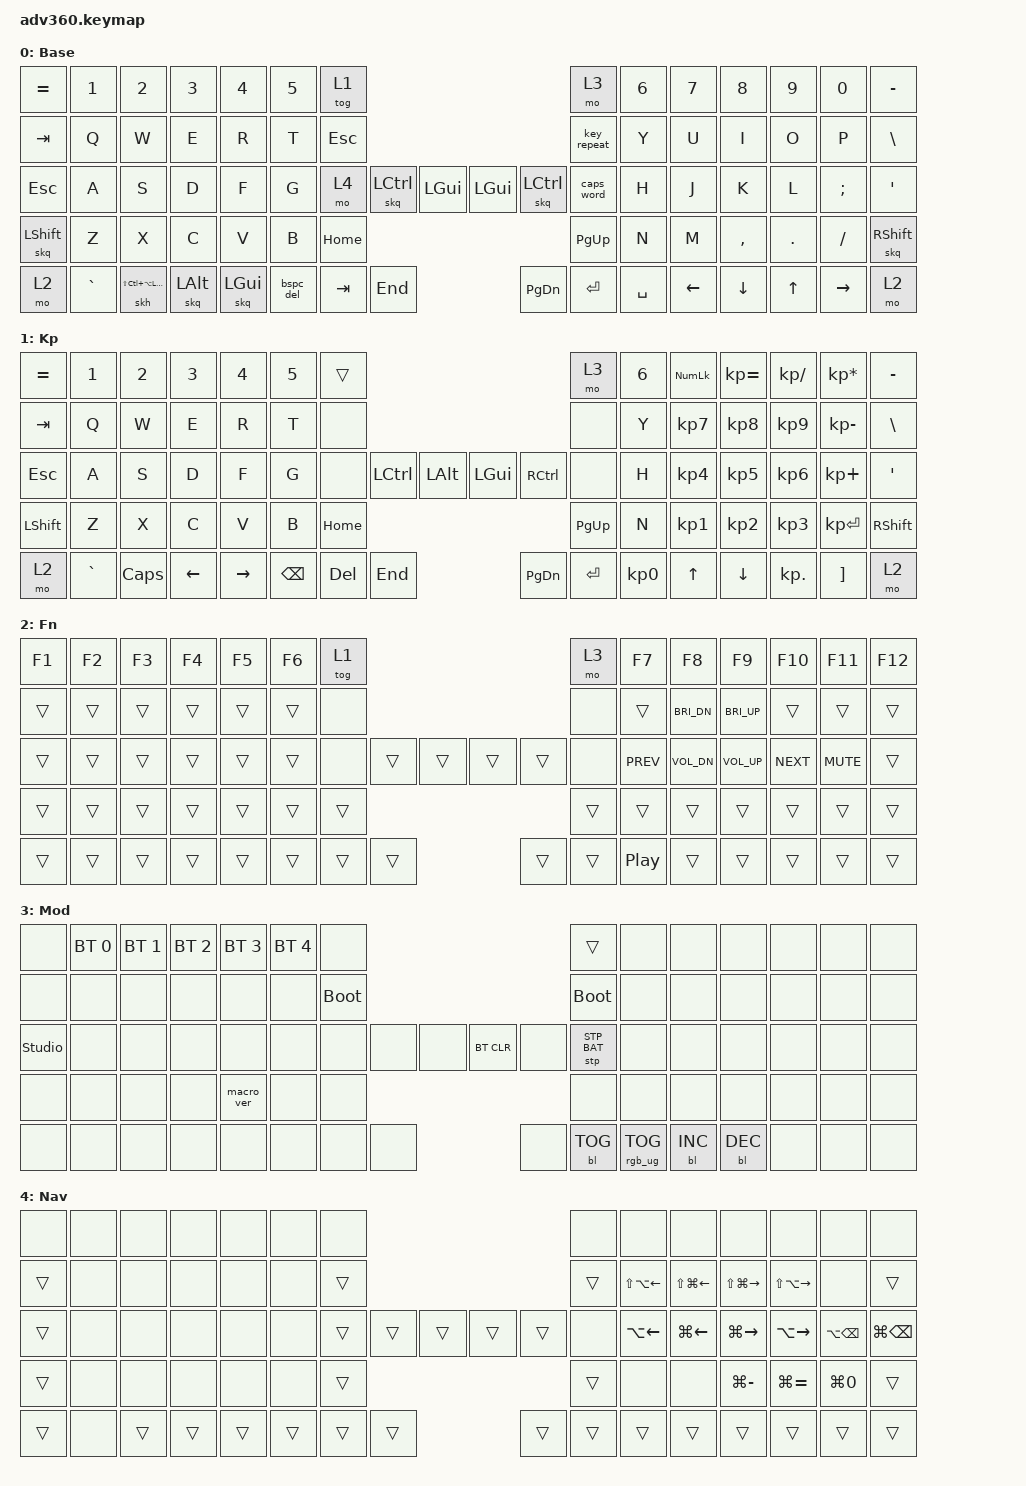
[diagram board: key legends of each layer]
#include <behaviors.dtsi>
#include <dt-bindings/zmk/keys.h>
#include <dt-bindings/zmk/bt.h>
#include <dt-bindings/zmk/rgb.h>
#include <dt-bindings/zmk/stp.h>
#include <dt-bindings/zmk/backlight.h>
#include <dt-bindings/zmk/pointing.h>

/ {
    behaviors {
      #include "macros.dtsi"
      #include "version.dtsi"

      hm: homerow_mods {
          compatible = "zmk,behavior-hold-tap";
          label = "HOMEROW_MODS";
          #binding-cells = <2>;
          tapping-term-ms = <200>;
          quick_tap_ms = <175>;
          flavor = "tap-preferred";
          bindings = <&kp>, <&kp>;
      };

      // Every sticky modifier on this board. Stock &sk drops the modifier when
      // the NEXT KEY IS RELEASED, so a fast roll after tapping shift capitalises
      // more than one letter. quick-release drops it on the next key PRESS
      // instead, which is the whole reason this repo exists.
      //
      // quick-release only affects the tapped-and-released path: it is gated on
      // timer_started, which is set in on_sticky_key_binding_released. Hold one
      // of these and it behaves like a plain held modifier, so holding Cmd to
      // walk the app switcher still works.
      //
      // ignore-modifiers is what lets two of these chain: tap ctrl, tap shift,
      // press T and you get Ctrl+Shift+T rather than the ctrl being eaten.
      skq: sticky_quick {
          compatible = "zmk,behavior-sticky-key";
          #binding-cells = <1>;
          bindings = <&kp>;
          release-after-ms = <1000>;
          quick-release;
          ignore-modifiers;
          display-name = "Sticky";
      };

      // Hyper is a window-manager chord, not a typing modifier, so it gets a
      // longer fuse — you are usually thinking about where the window goes.
      skh: sticky_hyper {
          compatible = "zmk,behavior-sticky-key";
          #binding-cells = <1>;
          bindings = <&kp>;
          release-after-ms = <2000>;
          quick-release;
          ignore-modifiers;
          display-name = "Sticky Hyper";
      };

      // Delete had no key at all on the base layer: it was lost when Tab took
      // the thumb key it used to sit on, and it only survives on the keypad
      // layer, which is never used. Shift+Backspace is the conventional way to
      // recover it and it costs no key.
      //
      // This pairs with sticky shift rather than fighting it — tap shift, tap
      // backspace, never holding two keys at once.
      bspc_del: backspace_delete {
          compatible = "zmk,behavior-mod-morph";
          #binding-cells = <0>;
          bindings = <&kp BSPC>, <&kp DEL>;
          mods = <(MOD_LSFT|MOD_RSFT)>;
          display-name = "Bksp / Del";
      };
    };

  // Left hand opens, right hand closes, and the row picks the pair. All six
  // brackets reached the same way, without shift, without a layer:
  //
  //     R+T  (      Y+U  )
  //     F+G  [      H+J  ]
  //     V+B  {      N+M  }
  //
  // Each pair is two adjacent keys on one row under one flattened index finger,
  // and no pair crosses the split — cross-half combos are the ones that suffer
  // latency.
  //
  // require-prior-idle-ms is what keeps this safe to type on. R+T is the only
  // pair that is a common English bigram (start, part, short); prior-idle means
  // a combo cannot fire if another key went down in the last 125 ms, so a
  // mid-word roll can never reach it. If ( still misfires, lower timeout-ms
  // toward 30 before touching prior-idle.
  combos {
    compatible = "zmk,combos";

    combo_lpar {
      key-positions = <18 19>;   // R + T
      bindings = <&kp LPAR>;
      timeout-ms = <40>;
      require-prior-idle-ms = <125>;
      layers = <0>;
    };
    combo_rpar {
      key-positions = <22 23>;   // Y + U
      bindings = <&kp RPAR>;
      timeout-ms = <40>;
      require-prior-idle-ms = <125>;
      layers = <0>;
    };
    combo_lbkt {
      key-positions = <32 33>;   // F + G
      bindings = <&kp LBKT>;
      timeout-ms = <40>;
      require-prior-idle-ms = <125>;
      layers = <0>;
    };
    combo_rbkt {
      key-positions = <40 41>;   // H + J
      bindings = <&kp RBKT>;
      timeout-ms = <40>;
      require-prior-idle-ms = <125>;
      layers = <0>;
    };
    combo_lbrc {
      key-positions = <50 51>;   // V + B
      bindings = <&kp LBRC>;
      timeout-ms = <40>;
      require-prior-idle-ms = <125>;
      layers = <0>;
    };
    combo_rbrc {
      key-positions = <54 55>;   // N + M
      bindings = <&kp RBRC>;
      timeout-ms = <40>;
      require-prior-idle-ms = <125>;
      layers = <0>;
    };
  };

  keymap {
    compatible = "zmk,keymap";

    // The two inner columns either side of T and Y used to hold [ and ], which
    // now come from combos. Leaving them bound would have given the brackets a
    // second route, and a second route is exactly what stopped the old symbol
    // layer from becoming muscle memory — so they were blanked, and now carry
    // the two things that had no home at all: the nav layer and key repeat.
    default_layer {
      display-name = "Base";
      bindings = <
        &kp EQUAL &kp N1    &kp N2                &kp N3    &kp N4    &kp N5 &tog 1                                                            &mo 3      &kp N6 &kp N7 &kp N8    &kp N9  &kp N0   &kp MINUS
        &kp TAB   &kp Q     &kp W                 &kp E     &kp R     &kp T  &kp ESC                                                           &key_repeat &kp Y &kp U  &kp I     &kp O   &kp P    &kp BSLH
        &kp ESC   &kp A     &kp S                 &kp D     &kp F     &kp G  &mo 4            &skq LCTRL &kp LGUI &kp LGUI  &skq LCTRL         &caps_word &kp H  &kp J  &kp K     &kp L   &kp SEMI &kp SQT
        &skq LSHFT &kp Z    &kp X                 &kp C     &kp V     &kp B                             &kp HOME &kp PG_UP                                &kp N  &kp M  &kp COMMA &kp DOT &kp FSLH &skq RSHFT
        &mo 2     &kp GRAVE &skh LS(LC(LA(LGUI))) &skq LALT &skq LGUI                &bspc_del &kp TAB  &kp END  &kp PG_DN &kp ENTER &kp SPACE            &kp LEFT &kp DOWN &kp UP  &kp RIGHT        &mo 2
      >;
    };
    keypad {
      display-name = "Kp";
      bindings = <
        &kp EQUAL &kp N1    &kp N2   &kp N3   &kp N4     &kp N5 &trans                                                           &mo 3 &kp N6 &kp KP_NUM &kp KP_EQUAL &kp KP_DIVIDE &kp KP_MULTIPLY &kp MINUS
        &kp TAB   &kp Q     &kp W    &kp E    &kp R      &kp T  &none                                                            &none &kp Y  &kp KP_N7  &kp KP_N8    &kp KP_N9     &kp KP_MINUS    &kp BSLH
        &kp ESC   &kp A     &kp S    &kp D    &kp F      &kp G  &none           &kp LCTRL &kp LALT &kp LGUI  &kp RCTRL           &none &kp H  &kp KP_N4  &kp KP_N5    &kp KP_N6     &kp KP_PLUS     &kp SQT
        &kp LSHFT &kp Z     &kp X    &kp C    &kp V      &kp B                            &kp HOME &kp PG_UP                           &kp N  &kp KP_N1  &kp KP_N2    &kp KP_N3     &kp KP_ENTER    &kp RSHFT
        &mo 2     &kp GRAVE &kp CAPS &kp LEFT &kp RIGHT                &kp BSPC &kp DEL   &kp END  &kp PG_DN &kp ENTER &kp KP_N0              &kp UP     &kp DOWN     &kp KP_DOT    &kp RBKT        &mo 2
      >;
    };
    // Media and brightness sit under the right hand, because Fn is held from
    // either bottom-row corner — hold it with the left pinky and the whole
    // right hand is free.
    //
    // The arrangement is vim motion rather than anything new to learn:
    // j/k is down/up so it is volume, h/l is left/right so it is track. U and I
    // are in the same two columns as J and K, so brightness is the same two
    // fingers one row up. Space is play/pause because Space is always
    // play/pause.
    //
    //          U      I          bri- / bri+
    //    H     J      K     L     ;
    //   prev  vol-  vol+  next  mute
    //          Space = play/pause
    fn {
      display-name = "Fn";
      bindings = <
        &kp F1 &kp F2 &kp F3 &kp F4 &kp F5 &kp F6 &tog 1                                            &mo 3 &kp F7     &kp F8       &kp F9       &kp F10    &kp F11    &kp F12
        &trans &trans &trans &trans &trans &trans  &none                                            &none &trans     &kp C_BRI_DN &kp C_BRI_UP &trans     &trans     &trans
        &trans &trans &trans &trans &trans &trans  &none        &trans &trans &trans &trans         &none &kp C_PREV &kp C_VOL_DN &kp C_VOL_UP &kp C_NEXT &kp C_MUTE &trans
        &trans &trans &trans &trans &trans &trans                       &trans &trans                     &trans     &trans       &trans       &trans     &trans     &trans
        &trans &trans &trans &trans &trans               &trans &trans &trans &trans &trans &kp C_PP            &trans &trans &trans  &trans  &trans
      >;
    };
    mod {
      display-name = "Mod";
      bindings = <
        &none &bt BT_SEL 0 &bt BT_SEL 1 &bt BT_SEL 2 &bt BT_SEL 3 &bt BT_SEL 4 &none                                                                     &trans                 &none        &none        &none        &none &none &none
        &none &none        &none        &none        &none        &none        &bootloader                                                               &bootloader            &none        &none        &none        &none &none &none
        &studio_unlock &none        &none        &none        &none        &none        &none                   &none &none &bt BT_CLR &none                      &stp STP_BAT &none        &none        &none        &none &none &none
        &none &none        &none        &none        &macro_ver   &none                                      &none &none                                                        &none        &none        &none        &none &none &none
        &none &none        &none        &none        &none                                       &none &none &none &none      &bl BL_TOG &rgb_ug RGB_TOG                                     &bl BL_INC   &bl BL_DEC   &none &none &none
      >;
    };
    // Held with the left index from the inner column beside G, so the whole
    // right hand is free. The board shows a red indicator while it is live.
    //
    // That key and the duplicate Esc were swapped on 2026-09-12, on trial: all
    // three left inner-column keys sit in one column, and this one is on the
    // home row where the one above it is a reach. A key you hold belongs on the
    // home row; a key you tap can afford the reach, and Esc is duplicated on
    // the pinky anyway. Revert by swapping them back if it does not settle.
    //
    // No plain arrows here on purpose. They already have dedicated keys on the
    // base layer, and duplicating them would be the same mistake the symbol
    // layer made. This layer carries only the motions that have no home at all.
    //
    // Left two go left, right two go right; outer jumps by word, inner by line.
    // Y U I O sit directly above H J K L, so the row above is the same motion
    // with shift added — select instead of move. Same finger, one row up.
    //
    //     Y       U       I       O
    //    sel     sel     sel     sel        select
    //    word    line    line    word
    //
    //     H       J       K       L       ;       '
    //    word    line    line    word    del     del      move / delete
    //     <-      <-      ->      ->     word    line
    //
    //     ,       .       /
    //    zoom    zoom    zoom              , is < and . is > — out and in
    //    out      in     reset
    nav {
      display-name = "Nav";
      bindings = <
        &none  &none  &none  &none  &none  &none  &none                                        &none  &none            &none            &none             &none             &none        &none
        &trans &none  &none  &none  &none  &none  &trans                                       &trans &kp LS(LA(LEFT)) &kp LS(LG(LEFT)) &kp LS(LG(RIGHT)) &kp LS(LA(RIGHT)) &none        &trans
        &trans &none  &none  &none  &none  &none  &trans       &trans &trans &trans &trans     &none  &kp LA(LEFT)     &kp LG(LEFT)     &kp LG(RIGHT)     &kp LA(RIGHT)     &kp LA(BSPC) &kp LG(BSPC)
        &trans &none  &none  &none  &none  &none                      &trans &trans                   &none            &none            &kp LG(MINUS)     &kp LG(EQUAL)     &kp LG(N0)   &trans
        &trans &none  &trans &trans &trans              &trans &trans &trans &trans &trans &trans            &trans &trans &trans  &trans  &trans
      >;
    };

    extra2 {
      display-name = "Purple";
      status = "reserved";
    };

    extra3 {
      display-name = "Cyan";
      status = "reserved";
    };

    extra4 {
      display-name = "Yellow";
      status = "reserved";
    };
  };
};
